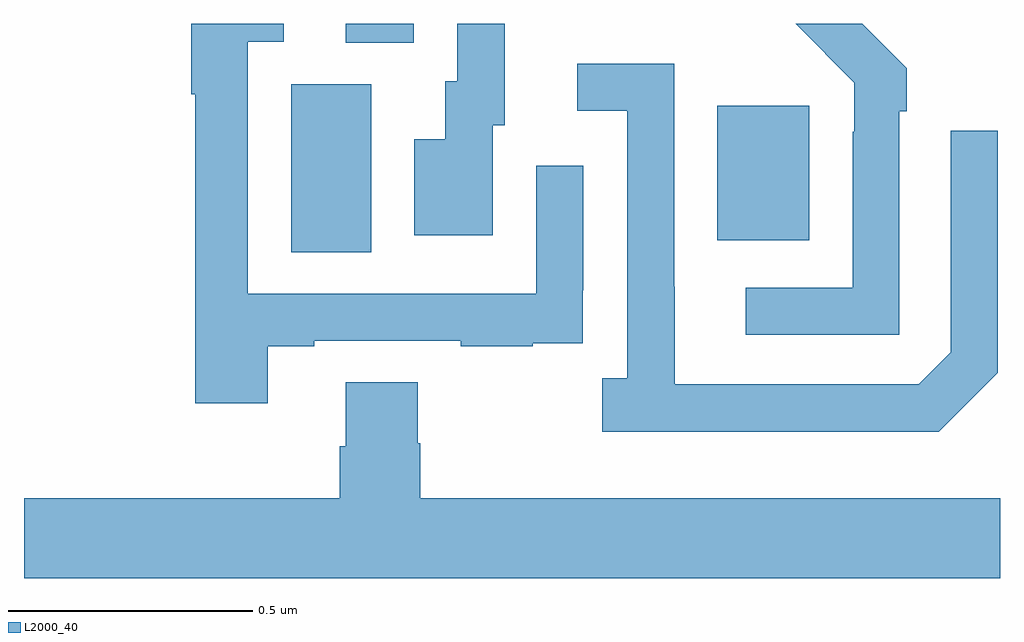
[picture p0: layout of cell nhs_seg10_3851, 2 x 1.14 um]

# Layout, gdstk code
import gdstk
lib = gdstk.Library(unit=1e-6, precision=1e-09)
def R(c, l, rs):  # rectangles x0, y0, x1, y1
    for r in rs: c.add(gdstk.rectangle(r[:2], r[2:], *l))
def P(c, l, *ps):  # polygons
    for p in ps: c.add(gdstk.Polygon(p, *l))
L2000_40 = (2000, 40)

nhs_seg10_3851 = lib.new_cell('nhs_seg10_3851')
R(nhs_seg10_3851, L2000_40, [(159.548,1253.032,159.712,1253.376), (160.421,1253.057,160.609,1253.332), (159.659,1253.461,159.799,1253.5)])
P(nhs_seg10_3851, L2000_40, [(159.499,1252.839),(159.595,1252.839),(159.595,1252.851),(159.895,1252.851),(159.895,1252.839),(160.043,1252.839),(160.043,1252.845),(160.145,1252.845),(160.145,1252.954),(160.146,1252.954),(160.146,1253.209),(160.05,1253.209),(160.05,1252.947),(159.459,1252.947),(159.459,1253.463),(159.532,1253.463),(159.532,1253.5),(159.343,1253.5),(159.343,1253.356),(159.351,1253.356),(159.351,1252.722),(159.499,1252.722)],
  [(159.961,1253.292),(159.985,1253.292),(159.985,1253.5),(159.888,1253.5),(159.888,1253.382),(159.863,1253.382),(159.863,1253.263),(159.8,1253.263),(159.8,1253.067),(159.961,1253.067)],
  [(160.794,1253.321),(160.809,1253.321),(160.809,1253.409),(160.718,1253.5),(160.581,1253.5),(160.701,1253.379),(160.701,1253.279),(160.698,1253.279),(160.698,1252.959),(160.479,1252.959),(160.479,1252.863),(160.794,1252.863)],
  [(160.995,1252.785),(160.995,1253.281),(160.899,1253.281),(160.899,1252.827),(160.833,1252.761),(160.333,1252.761),(160.333,1252.961),(160.332,1252.961),(160.332,1253.418),(160.134,1253.418),(160.134,1253.322),(160.236,1253.322),(160.236,1252.774),(160.185,1252.774),(160.185,1252.664),(160.874,1252.664)],
  [(159.659,1252.766),(159.659,1252.634),(159.647,1252.634),(159.647,1252.528),(159,1252.528),(159,1252.364),(161,1252.364),(161,1252.528),(159.812,1252.528),(159.812,1252.641),(159.807,1252.641),(159.807,1252.766)])

lib.write_gds('nhs_seg10_3851.gds')
